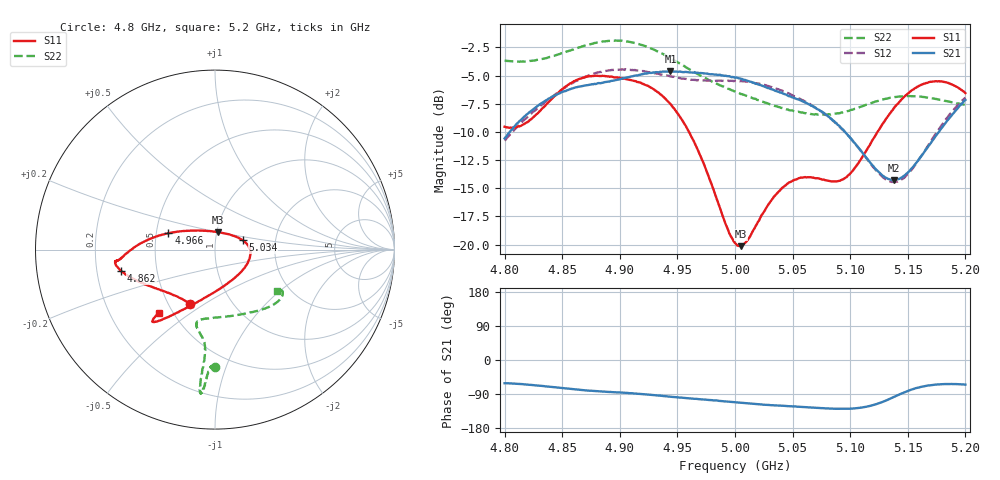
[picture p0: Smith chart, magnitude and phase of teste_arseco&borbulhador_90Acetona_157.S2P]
! Network Analyzer HP8722D
! Hewlett-Packard
! Data name: Linha & Wilkinson
! Saver's name: Rodrigo Anjos
! Comments: Teste da utilização de aquisição
! continua pelo VNA HP8722D
! Time and date: 17/4/2025 12:21
!  Frequency  S11  S21  S12  S22
# HZ  S  MA R 50
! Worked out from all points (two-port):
!   401 points, 4.8 GHz to 5.2 GHz, reference 50 ohm
!   highest |S21| = -4.63 dB at 4.944 GHz (marker M1); lowest = -14.3 dB at 5.138 GHz (marker M2)
!   |S21| within 3 dB of the highest: 4.829 GHz to 5.066 GHz (236.1 MHz wide, 4.77 % of centre); 5.195581 GHz to end of sweep
!   lowest |S11| = -20.1 dB at 5.005 GHz (marker M3), VSWR 1.22, Z = 50.9 + j9.93 ohm
!   |S11| at or under -10 dB: 4.96 GHz to 5.124 GHz (163.6 MHz wide, 3.25 % of centre)
!   |S22| runs from -8.5 to -1.9 dB; largest |S21 - S12| = 0.88
!   S11 on the Smith chart (normalised r, x): 4.8 GHz: 0.64, -0.44; 4.862 GHz: 0.31, -0.10; 4.966 GHz: 0.58, +0.11; 5.034 GHz: 1.36, +0.15; 5.2 GHz: 0.42, -0.38
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4.8e9  0.3334 -114.6  0.296 -61.3  0.2894 -175.5  0.6567 -90.2
4.819e9  0.3481 -134.6  0.3777 -64.7  0.3647 -174.3  0.6518 -91.8
4.862e9  0.5362 -167.1  0.4994 -77.8  0.5321 -177.6  0.7438 -94.1
4.867e9  0.5479 -169.1  0.505 -79.3  0.5478 -178.5  0.7574 -94.2
4.9e9  0.5494 -173.5  0.5419 -85.8  0.5974 174.9  0.8032 -95.8
4.934e9  0.4713 -179.7  0.5812 -94.0  0.5724 171.3  0.7155 -96.2
4.944e9  0.4206 175.6  0.5869 -96.8  0.557 171.3  0.6726 -96.1
4.966e9  0.2747 160.7  0.5782 -102.4  0.5378 173.3  0.5779 -95.5
4.993e9  0.1195 118.6  0.5596 -109.6  0.5341 175.7  0.4946 -98.2
5e9  0.1016 96.5  0.5506 -111.7  0.5341 175.7  0.4785 -99.6
5.005e9  0.09837 79.0  0.5446 -113.0  0.5313 175.7  0.4659 -100.9
5.012e9  0.1065 56.9  0.531 -114.7  0.5249 175.4  0.4528 -102.2
5.034e9  0.1635 18.6  0.4841 -119.9  0.4974 174.4  0.4135 -103.9
5.049e9  0.1905 3.4  0.4519 -122.0  0.4627 173.7  0.3942 -100.0
5.067e9  0.1986 -15.6  0.4125 -125.5  0.4146 173.2  0.3792 -90.5
5.086e9  0.1909 -45.8  0.3535 -128.7  0.351 173.3  0.3806 -76.1
5.097e9  0.1994 -68.4  0.3098 -128.8  0.3098 174.5  0.3904 -67.1
5.134e9  0.3789 -118.1  0.1949 -103.0  0.1911 -156.1  0.4476 -43.2
5.138e9  0.4038 -120.3  0.1928 -97.5  0.1894 -149.6  0.4507 -41.4
5.151e9  0.4722 -126.0  0.211 -80.6  0.2085 -130.1  0.4566 -36.7
5.17e9  0.5282 -130.2  0.2823 -66.3  0.2874 -112.5  0.4472 -32.3
5.2e9  0.4702 -131.8  0.4385 -64.9  0.4493 -107.0  0.4167 -33.9
